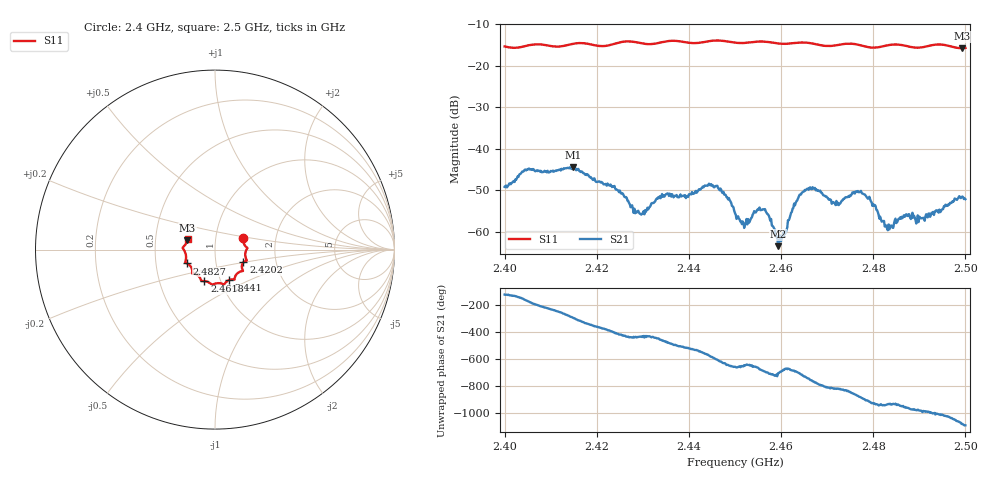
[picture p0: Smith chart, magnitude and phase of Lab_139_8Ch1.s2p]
# Hz S RI R 50
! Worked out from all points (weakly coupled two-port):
!   601 points, 2.4 GHz to 2.5 GHz, reference 50 ohm
!   highest |S21| = -44.45 dB at 2.4148 GHz (marker M1); lowest = -63.5 dB at 2.4593 GHz (marker M2)
!   lowest |S11| = -15.8 dB at 2.4993 GHz (marker M3), VSWR 1.39, Z = 36.5 + j3.84 ohm
!   |S11| at or under -10 dB: start of sweep to end of sweep
!   S12 and S22 are empty: the file has one direction only
!   S11 on the Smith chart (normalised r, x): 2.4 GHz: 1.36, +0.18; 2.4202 GHz: 1.36, -0.20; 2.441 GHz: 1.10, -0.39; 2.4618 GHz: 0.84, -0.30; 2.4827 GHz: 0.72, -0.11; 2.5 GHz: 0.73, +0.09
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2.4e9  0.1587 0.0629  -0.00197 -0.00285  0 0  0 0
2.404833e9  0.1737 0.0149  -0.00553 -0.000905  0 0  0 0
2.414833e9  0.175 -0.055  0.00266 0.00537  0 0  0 0
2.416667e9  0.1771 -0.0611  0.00431 0.0031  0 0  0 0
2.420167e9  0.1587 -0.0712  0.00397 -0.000247  0 0  0 0
2.4295e9  0.1415 -0.1227  0.000379 -0.00159  0 0  0 0
2.433333e9  0.1116 -0.1507  1.09e-05 -0.00259  0 0  0 0
2.441e9  0.0787 -0.1698  -0.00286 -0.000406  0 0  0 0
2.446333e9  0.0493 -0.1953  -0.00109 0.00315  0 0  0 0
2.45e9  0.0285 -0.1875  0.000813 0.00146  0 0  0 0
2.451833e9  0.00982 -0.1874  0.000569 0.00115  0 0  0 0
2.456333e9  -0.0173 -0.1946  0.00163 0.000852  0 0  0 0
2.459333e9  -0.035 -0.1819  0.000652 0.000139  0 0  0 0
2.461833e9  -0.059 -0.1755  0.00103 0.001  0 0  0 0
2.464167e9  -0.074 -0.1754  0.00278 0.000372  0 0  0 0
2.466667e9  -0.0788 -0.1684  0.00248 -0.00209  0 0  0 0
2.472167e9  -0.1145 -0.135  -0.000396 -0.00208  0 0  0 0
2.477667e9  -0.127 -0.1188  -0.00284 -0.000393  0 0  0 0
2.482667e9  -0.1561 -0.0772  -0.000879 0.000809  0 0  0 0
2.483333e9  -0.1603 -0.0752  -0.00101 0.00068  0 0  0 0
2.499333e9  -0.1539 0.0512  0.00265 -0.000105  0 0  0 0
2.5e9  -0.1521 0.0606  0.0024 -0.000547  0 0  0 0
